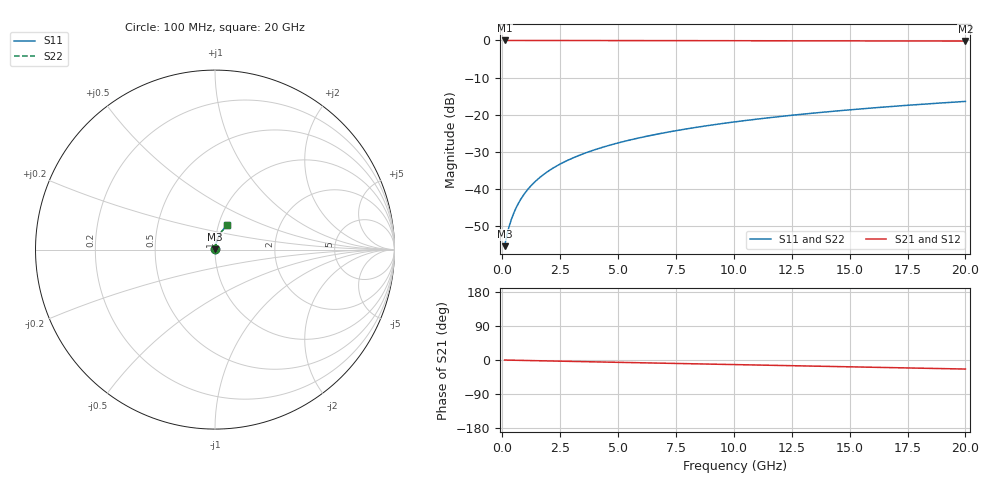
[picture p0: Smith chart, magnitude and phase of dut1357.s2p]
! Touchstone file exported from HFSS 2026.1.0
!  File:  C:/ffzhzh/LocalFiles/Ansys_Project_Files/temp_train_BSMRDL_1357_1783179122_55132.aedt
!  Generated:  11:33:13 PM Jul  4, 2026
!  Design:  BSMRDL
!  Project:  temp_train_BSMRDL_1357_1783179122_55132
! Variables:
!  h_bsmrdl = 5.66um
!  h_ox = 20um
!  h_rdl = 5um
!  h_sub = 80um
!  h_tmrdl = 5um
!  h_tsv = 80um
!  h_via = 3um
!  l_bsmrdl = 383.77um
!  l_sub = 783.77um
!  l_tmrdl = 200um
!  m_sub = 200um
!  pitch = 33.82um
!  r_tsv = 6um
!  s_tmrdl = 10um
!  w_bsmrdl = 20.07um
!  w_sub = 500um
!  w_tmrdl = 12um
!  x_tsv_center1 = 206um
!  x_tsv_center2 = 609.84um
!  x_tsv_center3 = 821.84um
!  x_tsv_center4 = 1225.68um
!  x_tsv_center5 = 1437.68um
!  x_tsv_center6 = 1841.52um
# GHz S MA R 50.000000
! Terminal data exported
! Port[1] = BSM_RDL1_1_T1
! Port[2] = BSM_RDL1_1_T2
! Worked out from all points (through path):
!   200 points, 100 MHz to 20 GHz, reference 50 ohm
!   highest |S21| = -0.01 dB at 100 MHz (marker M1); lowest = -0.2 dB at 20 GHz (marker M2)
!   group delay of S21, straight-line fit = 3.3 ps
!   lowest |S11| = -55.4 dB at 100 MHz (marker M3), VSWR 1.00, Z = 50.1 + j0.103 ohm
!   |S11| at or under -10 dB: start of sweep to end of sweep
!   |S22| runs from -55.4 to -16.4 dB; largest |S21 - S12| = 8e-15
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0.1  0.001703 37.0  0.9986 -0.1  0.9986 -0.1  0.001703 37.0
! Gamma 0 0 0 0
! Port Impedance 50 0 50 0
0.2  0.00242 52.4  0.9985 -0.3  0.9985 -0.3  0.00242 52.4
0.3  0.003177 60.7  0.9984 -0.4  0.9984 -0.4  0.003177 60.7
0.4  0.003967 66.1  0.9983 -0.5  0.9983 -0.5  0.003967 66.1
0.5  0.004783 69.7  0.9983 -0.6  0.9983 -0.6  0.004783 69.7
0.6  0.005615 72.3  0.9982 -0.8  0.9982 -0.8  0.005615 72.3
0.8  0.007306 75.5  0.9982 -1.0  0.9982 -1.0  0.007306 75.5
1.1  0.009871 78.0  0.998 -1.4  0.998 -1.4  0.009871 78.0
1.3  0.01158 78.9  0.9979 -1.6  0.9979 -1.6  0.01158 78.9
1.5  0.01329 79.5  0.9978 -1.9  0.9978 -1.9  0.01329 79.5
1.8  0.01584 79.9  0.9976 -2.3  0.9976 -2.3  0.01584 79.9
2.1  0.01836 80.1  0.9975 -2.6  0.9975 -2.6  0.01836 80.1
2.7  0.02334 80.0  0.997 -3.4  0.997 -3.4  0.02334 80.0
3.5  0.02985 79.5  0.9964 -4.3  0.9964 -4.3  0.02985 79.5
4.2  0.03543 79.0  0.9958 -5.2  0.9958 -5.2  0.03543 79.0
5  0.04173 78.3  0.9951 -6.2  0.9951 -6.2  0.04173 78.3
6.8  0.05565 76.7  0.9936 -8.3  0.9936 -8.3  0.05565 76.7
8.3  0.06708 75.3  0.9924 -10.1  0.9924 -10.1  0.06708 75.3
10.1  0.0806 73.5  0.9908 -12.2  0.9908 -12.2  0.0806 73.5
13.4  0.1049 70.1  0.9876 -16.1  0.9876 -16.1  0.1049 70.1
16.7  0.1284 66.6  0.9841 -20.0  0.9841 -20.0  0.1284 66.6
20  0.1511 63.0  0.9802 -23.9  0.9802 -23.9  0.1511 63.0
